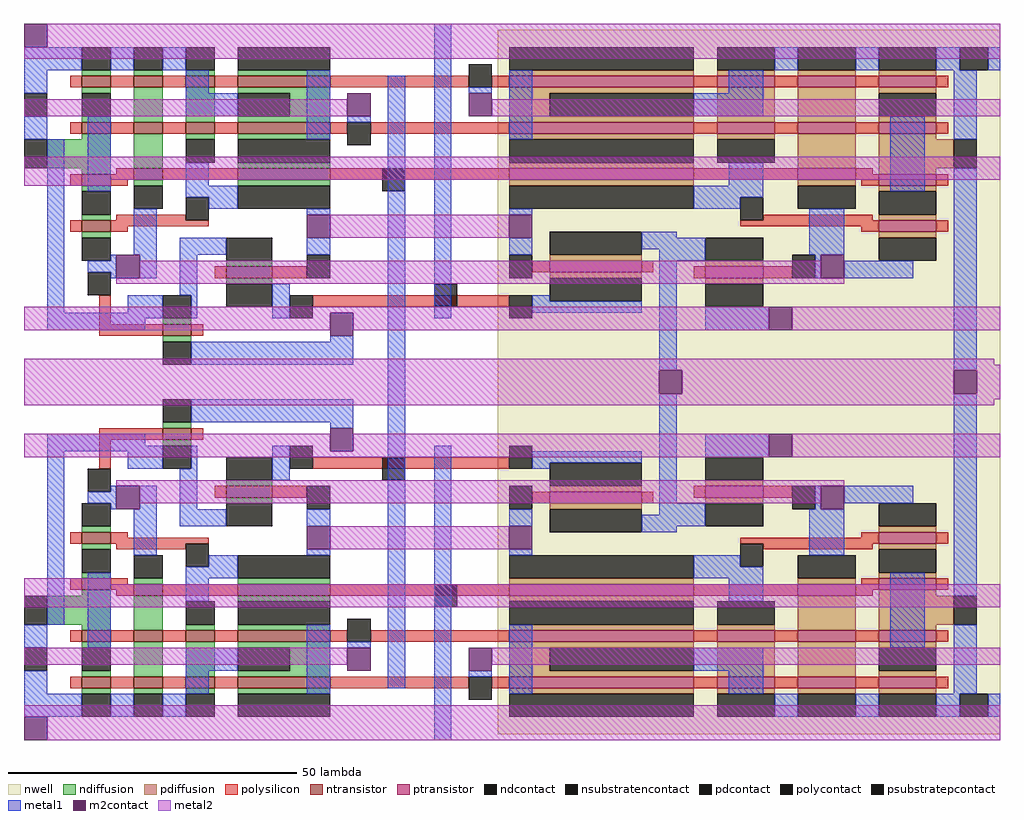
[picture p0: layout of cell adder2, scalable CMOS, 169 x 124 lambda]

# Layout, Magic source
magic
tech scmos
<< polycontact >>
rect 60 95 64 99
rect 69 75 73 79
rect 60 45 64 49
rect 69 23 73 27
use fulladd fulladd_1
transform 1 0 -42 0 -1 97
box 40 -27 209 37
use fulladd fulladd_0
transform 1 0 -42 0 1 27
box 40 -27 209 37
<< end >>

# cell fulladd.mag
magic
tech scmos
<< nwell >>
rect 122 -26 209 37
<< polysilicon >>
rect 53 25 64 27
rect 69 25 71 27
rect 53 20 55 25
rect 90 20 124 22
rect 73 15 75 17
rect 83 15 89 17
rect 128 14 131 16
rect 147 14 149 16
rect 156 15 158 17
rect 168 15 173 17
rect 48 7 50 9
rect 55 8 58 9
rect 185 8 188 9
rect 55 7 72 8
rect 56 6 68 7
rect 164 7 188 8
rect 198 7 200 9
rect 48 -1 50 1
rect 55 0 58 1
rect 168 6 187 7
rect 185 0 188 1
rect 55 -1 59 0
rect 56 -2 59 -1
rect 64 -2 77 0
rect 93 -2 124 0
rect 156 -2 174 0
rect 184 -1 188 0
rect 198 -1 200 1
rect 184 -2 187 -1
rect 48 -10 50 -8
rect 55 -10 59 -8
rect 64 -10 68 -8
rect 73 -10 77 -8
rect 93 -10 96 -8
rect 100 -10 124 -8
rect 156 -10 160 -8
rect 170 -10 174 -8
rect 184 -10 188 -8
rect 198 -10 200 -8
rect 48 -18 50 -16
rect 55 -18 59 -16
rect 64 -18 68 -16
rect 73 -18 77 -16
rect 93 -18 117 -16
rect 121 -18 124 -16
rect 156 -18 160 -16
rect 170 -18 174 -16
rect 184 -18 188 -16
rect 198 -18 200 -16
<< ndiffusion >>
rect 64 27 69 28
rect 64 24 69 25
rect 75 17 83 18
rect 75 14 83 15
rect 50 9 55 10
rect 50 6 55 7
rect 50 1 55 2
rect 59 0 64 1
rect 77 0 93 1
rect 50 -2 55 -1
rect 44 -7 55 -2
rect 50 -8 55 -7
rect 59 -8 64 -2
rect 77 -3 93 -2
rect 68 -8 73 -7
rect 77 -8 93 -7
rect 50 -11 55 -10
rect 50 -16 55 -15
rect 59 -16 64 -10
rect 68 -16 73 -10
rect 77 -11 93 -10
rect 86 -15 93 -11
rect 77 -16 93 -15
rect 50 -19 55 -18
rect 59 -19 64 -18
rect 68 -19 73 -18
rect 77 -19 93 -18
<< pdiffusion >>
rect 158 17 168 18
rect 131 16 147 17
rect 158 14 168 15
rect 131 13 147 14
rect 188 9 198 10
rect 188 6 198 7
rect 124 0 156 1
rect 188 1 198 2
rect 174 0 184 1
rect 188 -2 198 -1
rect 124 -3 156 -2
rect 124 -8 156 -7
rect 160 -8 170 -7
rect 174 -8 184 -2
rect 188 -7 201 -2
rect 188 -8 198 -7
rect 124 -11 156 -10
rect 124 -15 131 -11
rect 124 -16 156 -15
rect 160 -16 170 -10
rect 174 -16 184 -10
rect 188 -11 198 -10
rect 188 -16 198 -15
rect 124 -19 156 -18
rect 160 -19 170 -18
rect 174 -19 184 -18
rect 188 -19 198 -18
<< metal1 >>
rect 69 28 97 32
rect 93 27 97 28
rect 44 24 61 26
rect 44 23 64 24
rect 44 -7 47 23
rect 58 20 64 23
rect 69 20 70 24
rect 55 16 56 17
rect 51 14 56 16
rect 55 13 56 14
rect 60 13 63 17
rect 40 -11 44 -7
rect 51 -11 55 2
rect 59 5 63 13
rect 67 13 70 20
rect 83 18 86 24
rect 67 10 75 13
rect 89 10 93 13
rect 89 5 93 6
rect 72 3 77 5
rect 68 1 77 3
rect 68 -3 72 1
rect 68 -15 77 -11
rect 40 -19 44 -15
rect 68 -19 72 -15
rect 89 -19 93 -7
rect 96 -11 100 -10
rect 103 -18 106 37
rect 40 -23 50 -19
rect 55 -23 59 -19
rect 64 -23 68 -19
rect 111 -27 114 24
rect 128 21 147 23
rect 128 20 131 21
rect 150 14 153 33
rect 158 22 169 26
rect 124 10 128 13
rect 150 12 158 14
rect 147 10 158 12
rect 177 13 178 17
rect 182 14 194 17
rect 147 9 153 10
rect 124 5 128 6
rect 156 3 164 5
rect 176 5 182 13
rect 156 1 168 3
rect 162 -3 168 1
rect 117 -16 121 -15
rect 124 -19 128 -7
rect 190 -11 196 2
rect 201 -2 205 33
rect 156 -15 168 -11
rect 162 -19 168 -15
rect 201 -19 205 -7
rect 170 -23 174 -19
rect 184 -23 188 -19
rect 198 -23 202 -19
rect 207 -23 209 -19
<< metal2 >>
rect 40 33 150 37
rect 154 33 201 37
rect 205 33 209 37
rect 40 32 209 33
rect 40 31 208 32
rect 40 23 93 26
rect 97 23 169 26
rect 40 22 169 23
rect 173 22 209 26
rect 56 17 182 18
rect 60 14 178 17
rect 93 6 124 10
rect 40 0 55 1
rect 40 -4 209 0
rect 40 -14 96 -11
rect 121 -14 209 -11
rect 40 -23 209 -21
rect 44 -27 209 -23
<< ntransistor >>
rect 64 25 69 27
rect 75 15 83 17
rect 50 7 55 9
rect 50 -1 55 1
rect 59 -2 64 0
rect 77 -2 93 0
rect 50 -10 55 -8
rect 59 -10 64 -8
rect 68 -10 73 -8
rect 77 -10 93 -8
rect 50 -18 55 -16
rect 59 -18 64 -16
rect 68 -18 73 -16
rect 77 -18 93 -16
<< ptransistor >>
rect 131 14 147 16
rect 158 15 168 17
rect 188 7 198 9
rect 124 -2 156 0
rect 174 -2 184 0
rect 188 -1 198 1
rect 124 -10 156 -8
rect 160 -10 170 -8
rect 174 -10 184 -8
rect 188 -10 198 -8
rect 124 -18 156 -16
rect 160 -18 170 -16
rect 174 -18 184 -16
rect 188 -18 198 -16
<< polycontact >>
rect 51 16 55 20
rect 86 20 90 24
rect 124 20 128 24
rect 89 13 93 17
rect 124 13 128 17
rect 173 13 177 17
rect 68 3 72 7
rect 164 3 168 7
rect 96 -10 100 -6
rect 117 -20 121 -16
<< ndcontact >>
rect 64 28 69 32
rect 64 20 69 24
rect 75 18 83 22
rect 50 10 55 14
rect 75 10 83 14
rect 50 2 55 6
rect 59 1 64 5
rect 77 1 93 5
rect 40 -7 44 -2
rect 68 -7 73 -3
rect 77 -7 93 -3
rect 50 -15 55 -11
rect 77 -15 86 -11
rect 50 -23 55 -19
rect 59 -23 64 -19
rect 68 -23 73 -19
rect 77 -23 93 -19
<< pdcontact >>
rect 131 17 147 21
rect 158 18 168 22
rect 131 9 147 13
rect 158 10 168 14
rect 188 10 198 14
rect 124 1 156 5
rect 174 1 184 5
rect 188 2 198 6
rect 124 -7 156 -3
rect 160 -7 170 -3
rect 201 -7 205 -2
rect 131 -15 156 -11
rect 188 -15 198 -11
rect 124 -23 156 -19
rect 160 -23 170 -19
rect 174 -23 184 -19
rect 188 -23 198 -19
<< m2contact >>
rect 56 13 60 17
rect 93 23 97 27
rect 89 6 93 10
rect 96 -15 100 -11
rect 150 33 154 37
rect 201 33 205 37
rect 40 -27 44 -23
rect 169 22 173 26
rect 124 6 128 10
rect 178 13 182 17
rect 117 -15 121 -11
<< psubstratepcontact >>
rect 40 -15 44 -11
<< nsubstratencontact >>
rect 202 -23 207 -19
<< labels >>
rlabel polysilicon 99 20 99 20 1 Cout
rlabel polysilicon 98 -1 98 -1 1 Cin
rlabel metal2 47 -25 47 -25 1 Gnd
rlabel metal2 47 -13 47 -13 1 A
rlabel metal2 47 34 47 34 5 Vdd
rlabel metal2 167 16 167 16 1 Sum_b
rlabel metal2 207 -13 207 -13 7 B
rlabel metal2 207 -2 207 -2 7 Random
rlabel metal2 207 24 207 24 7 Sum
<< end >>
